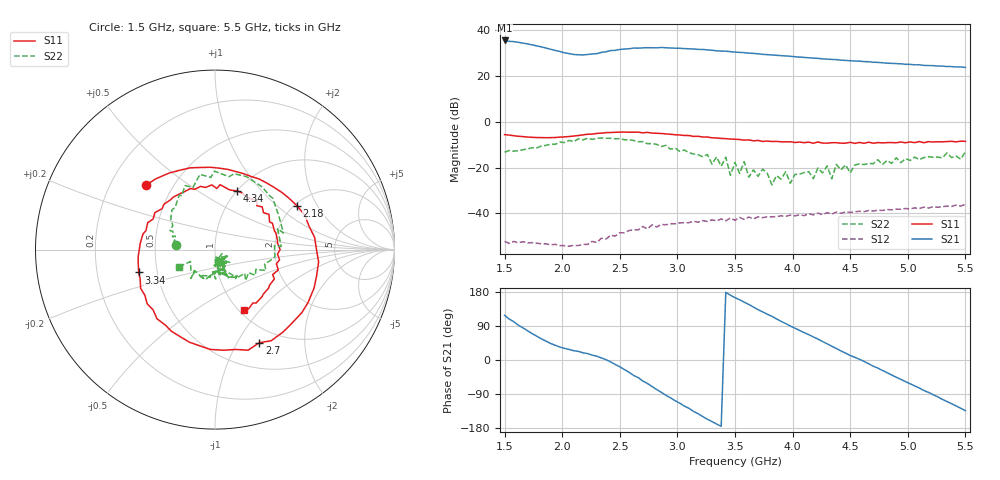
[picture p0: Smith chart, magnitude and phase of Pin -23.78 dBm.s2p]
! RsaToolbox (C) 2015 Rohde & Schwarz America
! Number of points: 101
! Number of ports: 2
! Balanced ports?: No
# Hz S RI R 50
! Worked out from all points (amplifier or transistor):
!   101 points, 1.5 GHz to 5.5 GHz, reference 50 ohm
!   highest |S21| = 35.6 dB at 1.5 GHz (marker M1)
!   |S21| within 3 dB of that: start of sweep to 1.835 GHz
!   unconditionally stable (mu >= 1): start of sweep to end of sweep
!   at 2.14 GHz: K = 5.48, MAG = 31.4 dB, |S12| = -54.1 dB
!   at 3.5 GHz: K = 1.89, MAG = 31.4 dB, |S12| = -43.0 dB
!   at 5.5 GHz: K = 1.73, MAG = 25.0 dB, |S12| = -36.0 dB
!   S11 on the Smith chart (normalised r, x): 1.5 GHz: 0.35, +0.35; 2.18 GHz: 2.07, +1.38; 2.7 GHz: 0.80, -1.24; 3.34 GHz: 0.39, -0.12; 4.34 GHz: 1.01, +0.75; 5.5 GHz: 1.05, -0.83
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1.5e9  -0.3837 0.3598  -28.24 53.3  0.0016 -0.00183  -0.2153 0.0265
1.62e9  -0.2001 0.4411  -1.48 54.91  0.000916 -0.00206  -0.2211 0.0756
1.74e9  -0.0264 0.4586  17.02 45.26  0.000257 -0.00227  -0.2512 0.1052
1.82e9  0.0683 0.4474  24.58 36.1  -0.000101 -0.00215  -0.2452 0.1651
1.98e9  0.2439 0.3942  28.66 19.41  -0.000551 -0.00189  -0.199 0.3037
2.18e9  0.4576 0.2437  27.46 9.49  -0.000533 -0.00202  -0.0231 0.4019
2.38e9  0.5773 -0.0691  34.1 0.5716  -0.000883 -0.00259  0.2088 0.3846
2.5e9  0.5186 -0.2944  36.45 -11.8  -0.00226 -0.00299  0.3221 0.2858
2.7e9  0.2468 -0.5188  23.49 -34.26  -0.00446 -0.00258  0.369 0.017
2.86e9  -0.0248 -0.5564  3.451 -42.19  -0.00562 -0.000944  0.2765 -0.0811
3.02e9  -0.243 -0.455  -16.45 -37.22  -0.00594 0.00164  0.1869 -0.1284
3.14e9  -0.3446 -0.3359  -28.01 -27.44  -0.00601 0.00301  0.115 -0.1616
3.34e9  -0.4253 -0.1274  -35.19 -6.865  -0.00382 0.00568  0.0753 -0.1532
3.5e9  -0.4161 0.0366  -32.35 9.043  -0.002 0.00676  0.0193 -0.1274
3.7e9  -0.3349 0.2063  -20.95 22.57  0.00111 0.00832  0.0226 -0.0603
3.86e9  -0.2326 0.2925  -9.098 27.12  0.00386 0.00758  0.017 -0.0646
4.18e9  0.0098 0.3404  12.07 21.69  0.00824 0.00416  -0.000429 -0.0572
4.34e9  0.1247 0.327  18.66 13.77  0.00949 0.00155  0.0222 -0.0524
4.58e9  0.263 0.2377  21.27 0.7361  0.0106 -0.00332  0.057 -0.1054
4.86e9  0.3487 0.0492  14.62 -12.15  0.00717 -0.00953  -0.0131 -0.1233
5.22e9  0.3042 -0.1975  -0.4624 -16.97  -0.00114 -0.0139  -0.0835 -0.1455
5.5e9  0.1613 -0.3374  -10.72 -11.2  -0.00912 -0.0129  -0.2008 -0.0961
